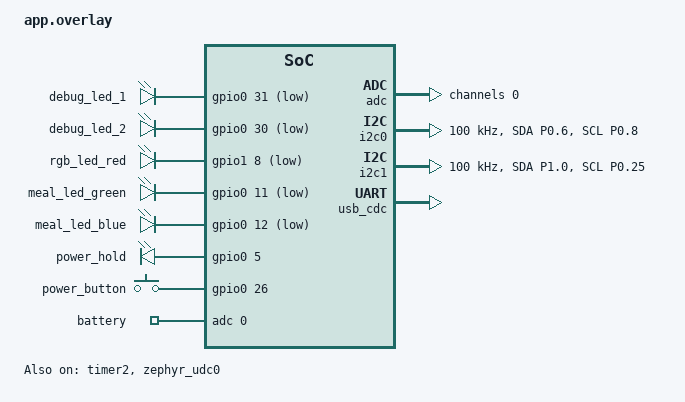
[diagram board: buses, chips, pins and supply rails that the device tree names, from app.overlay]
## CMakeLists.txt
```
cmake_minimum_required(VERSION 3.20.0)
find_package(Zephyr REQUIRED HINTS $ENV{ZEPHYR_BASE})
project(apslim_v0_1 LANGUAGES C)

target_include_directories(app PRIVATE
    src/hal src/drivers src/algorithms src/services src/app
)
target_sources(app PRIVATE
    src/main.c
    src/hal/app_timer.c
    src/hal/pwr_hal.c
    src/hal/led_hal.c
    src/hal/battery_adc.c
    src/hal/i2c_hal.c
    src/hal/usb_serial.c
    src/drivers/fdc1004.c
    src/drivers/lis2dh12.c
    src/algorithms/moving_average.c
    src/algorithms/capacitive_detect.c
    src/algorithms/accel_detect.c
    src/algorithms/meal_pattern.c
    src/services/button_service.c
    src/services/power_service.c
    src/services/battery_service.c
    src/services/capacitive_service.c
    src/services/accel_service.c
    src/app/device_control.c
)
```

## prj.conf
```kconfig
# nRF Connect SDK 3.4.1 / raytac_mdbt50q_db_40/nrf52840
CONFIG_GPIO=y
CONFIG_PINCTRL=y
CONFIG_COUNTER=y
CONFIG_I2C=y
CONFIG_ADC=y

# Preserve the USB CDC stack/API used by the supplied main.c.
CONFIG_USB_DEVICE_STACK=y
CONFIG_USB_CDC_ACM=y
CONFIG_SERIAL=y
CONFIG_UART_INTERRUPT_DRIVEN=y
CONFIG_UART_LINE_CTRL=y
CONFIG_CONSOLE=n
CONFIG_UART_CONSOLE=n
CONFIG_STDOUT_CONSOLE=n
CONFIG_PRINTK=n
CONFIG_LOG=n
CONFIG_USE_SEGGER_RTT=n
CONFIG_BOOT_BANNER=n

CONFIG_MAIN_STACK_SIZE=8192
CONFIG_SYSTEM_WORKQUEUE_STACK_SIZE=2048
CONFIG_HEAP_MEM_POOL_SIZE=2048
```

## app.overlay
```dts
/* Apslim Rev.A, modular v0.1 on raytac_mdbt50q_db_40/nrf52840. */
#include <zephyr/dt-bindings/adc/adc.h>
#include <zephyr/dt-bindings/adc/nrf-saadc.h>
#include <zephyr/dt-bindings/gpio/gpio.h>
#include <zephyr/dt-bindings/pinctrl/nrf-pinctrl.h>

/ {
    chosen {
        zephyr,console = &usb_cdc;
        zephyr,shell-uart = &usb_cdc;
    };

    apslim_outputs {
        compatible = "gpio-leds";

        debug_led_1: debug_led_1 {
            gpios = <&gpio0 31 GPIO_ACTIVE_LOW>;
        };

        debug_led_2: debug_led_2 {
            gpios = <&gpio0 30 GPIO_ACTIVE_LOW>;
        };

        rgb_led_red: rgb_led_red {
            /* Added by request: RGB RED on P1.08, active LOW. */
            gpios = <&gpio1 8 GPIO_ACTIVE_LOW>;
        };

        meal_led_green: meal_led_green {
            gpios = <&gpio0 11 GPIO_ACTIVE_LOW>;
        };

        meal_led_blue: meal_led_blue {
            gpios = <&gpio0 12 GPIO_ACTIVE_LOW>;
        };

        /* GPIO descriptor only: CONFIG_LED is not enabled. */
        power_hold: power_hold {
            gpios = <&gpio0 5 GPIO_ACTIVE_HIGH>;
        };
    };

    apslim_buttons {
        compatible = "gpio-keys";

        power_button: power_button {
            gpios = <&gpio0 26 GPIO_ACTIVE_HIGH>;
        };
    };

    zephyr,user {
        io-channels = <&adc 0>;
        io-channel-names = "battery";
    };

    aliases {
        led-r = &rgb_led_red;
        led-g = &meal_led_green;
        led-b = &meal_led_blue;
        led0 = &debug_led_2;
        led1 = &meal_led_blue;
        debug-led-1 = &debug_led_1;
        debug-led-2 = &debug_led_2;
        meal-led-green = &meal_led_green;
        meal-led-blue = &meal_led_blue;
        power-hold = &power_hold;
        power-button = &power_button;
    };
};

/* Release pins and serial instances used by the Raytac development board. */
&uart0 { status = "disabled"; };
&uart1 { status = "disabled"; };
&spi0 { status = "disabled"; };
&spi1 { status = "disabled"; };
&spi2 { status = "disabled"; };
&spi3 { status = "disabled"; };
&pwm0 { status = "disabled"; };
&qspi { status = "disabled"; };
&button0 { status = "disabled"; };
&button1 { status = "disabled"; };
&button2 { status = "disabled"; };
&button3 { status = "disabled"; };

&gpio0 { status = "okay"; };
&gpio1 { status = "okay"; };

&adc {
    status = "okay";
    #address-cells = <1>;
    #size-cells = <0>;

    channel@0 {
        reg = <0>;
        zephyr,gain = "ADC_GAIN_1_6";
        zephyr,reference = "ADC_REF_INTERNAL";
        /* R8/R10 are high impedance; allow SAADC acquisition time. */
        zephyr,acquisition-time = <ADC_ACQ_TIME(ADC_ACQ_TIME_MICROSECONDS, 40)>;
        zephyr,input-positive = <NRF_SAADC_AIN0>;
        zephyr,resolution = <12>;
    };
};

/* The only application hardware timer. 16 MHz / 2^4 = 1 MHz. */
&timer2 {
    status = "okay";
    prescaler = <4>;
};

&i2c0 {
    compatible = "nordic,nrf-twim";
    status = "okay";
    pinctrl-0 = <&apslim_accel_default>;
    pinctrl-1 = <&apslim_accel_sleep>;
    pinctrl-names = "default", "sleep";
    clock-frequency = <100000>;
};

&i2c1 {
    compatible = "nordic,nrf-twim";
    status = "okay";
    pinctrl-0 = <&apslim_fdc_default>;
    pinctrl-1 = <&apslim_fdc_sleep>;
    pinctrl-names = "default", "sleep";
    clock-frequency = <100000>;
};

&pinctrl {
    apslim_accel_default: apslim_accel_default {
        group1 {
            psels = <NRF_PSEL(TWIM_SDA, 0, 6)>, <NRF_PSEL(TWIM_SCL, 0, 8)>;
        };
    };

    apslim_accel_sleep: apslim_accel_sleep {
        group1 {
            psels = <NRF_PSEL(TWIM_SDA, 0, 6)>, <NRF_PSEL(TWIM_SCL, 0, 8)>;
            low-power-enable;
        };
    };

    apslim_fdc_default: apslim_fdc_default {
        group1 {
            psels = <NRF_PSEL(TWIM_SDA, 1, 0)>, <NRF_PSEL(TWIM_SCL, 0, 25)>;
        };
    };

    apslim_fdc_sleep: apslim_fdc_sleep {
        group1 {
            psels = <NRF_PSEL(TWIM_SDA, 1, 0)>, <NRF_PSEL(TWIM_SCL, 0, 25)>;
            low-power-enable;
        };
    };
};

&zephyr_udc0 {
    status = "okay";

    usb_cdc: cdc_acm_uart0 {
        compatible = "zephyr,cdc-acm-uart";
    };
};
```

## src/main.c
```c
#include <stdint.h>

#include "app_timer.h"
#include "device_control.h"

int main(void)
{
    int ret = device_control_init();
    if (ret < 0) {
        return ret;
    }
    ret = app_timer_init();
    if (ret < 0) {
        return ret;
    }
    for (;;) {
        uint32_t now_ms;
        uint32_t elapsed_ticks;
        if (app_timer_wait(&now_ms, &elapsed_ticks) == 0) {
            device_control_process(now_ms, elapsed_ticks);
        }
    }
}
```
